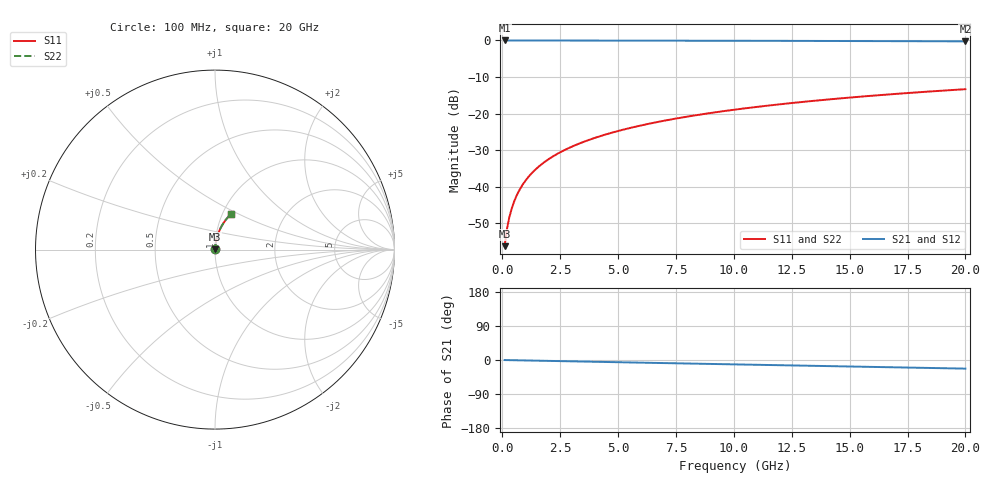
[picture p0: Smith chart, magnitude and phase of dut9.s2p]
! Touchstone file exported from HFSS 2026.1.0
!  File:  C:/ffzhzh/LocalFiles/Ansys_Project_Files/temp_val_TMRDL_9_1782902762_46784.aedt
!  Generated:  06:47:26 PM Jul  1, 2026
!  Design:  TMRDL
!  Project:  temp_val_TMRDL_9_1782902762_46784
! Variables:
!  h_bsmrdl = 2um
!  h_ox = 20um
!  h_rdl = 5um
!  h_sub = 80um
!  h_tmrdl = 5.59um
!  h_tsv = 80um
!  h_via = 3um
!  l_bsmrdl = 300um
!  l_sub = 699.43um
!  l_tmrdl = 299.43um
!  m_sub = 200um
!  pitch = 58.82um
!  r_tsv = 6um
!  s_tmrdl = 10um
!  w_bsmrdl = 18um
!  w_sub = 500um
!  w_tmrdl = 27.7um
!  x_tsv_center1 = 313.28um
!  x_tsv_center2 = 631.28um
!  x_tsv_center3 = 958.41um
!  x_tsv_center4 = 1276.41um
!  x_tsv_center5 = 1603.54um
!  x_tsv_center6 = 1921.54um
# GHz S MA R 50.000000
! Terminal data exported
! Port[1] = TM_RDL1_1_T1
! Port[2] = TM_RDL1_1_T2
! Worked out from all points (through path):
!   200 points, 100 MHz to 20 GHz, reference 50 ohm
!   highest |S21| = -0.01 dB at 100 MHz (marker M1); lowest = -0.3 dB at 20 GHz (marker M2)
!   group delay of S21, straight-line fit = 3.15 ps
!   lowest |S11| = -56.3 dB at 100 MHz (marker M3), VSWR 1.00, Z = 50.1 + j0.128 ohm
!   |S11| at or under -10 dB: start of sweep to end of sweep
!   |S22| runs from -56.3 to -13.3 dB; largest |S21 - S12| = 4.5e-15
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0.1  0.001537 56.1  0.9991 -0.1  0.9991 -0.1  0.001537 56.1
! Gamma 0 0 0 0
! Port Impedance 50 0 50 0
0.2  0.002616 71.6  0.9991 -0.2  0.9991 -0.2  0.002615 71.6
0.3  0.003769 77.3  0.999 -0.4  0.999 -0.4  0.003769 77.3
0.4  0.004946 80.1  0.999 -0.5  0.999 -0.5  0.004945 80.1
0.5  0.006133 81.6  0.9989 -0.6  0.9989 -0.6  0.006132 81.6
0.7  0.008515 83.2  0.9989 -0.8  0.9989 -0.8  0.008514 83.2
0.8  0.009706 83.7  0.9988 -1.0  0.9988 -1.0  0.009705 83.7
1  0.01208 84.1  0.9988 -1.2  0.9988 -1.2  0.01208 84.1
1.2  0.01445 84.3  0.9987 -1.4  0.9987 -1.4  0.01445 84.3
1.4  0.0168 84.4  0.9986 -1.7  0.9986 -1.7  0.0168 84.4
1.7  0.02031 84.3  0.9984 -2.0  0.9984 -2.0  0.02031 84.3
2  0.02379 84.2  0.9982 -2.4  0.9982 -2.4  0.02379 84.2
2.7  0.03182 83.7  0.9978 -3.2  0.9978 -3.2  0.03182 83.7
3.5  0.04091 83.0  0.9971 -4.1  0.9971 -4.1  0.04091 83.0
4.2  0.0488 82.4  0.9965 -4.9  0.9965 -4.9  0.0488 82.4
5  0.05776 81.6  0.9958 -5.9  0.9958 -5.9  0.05776 81.6
6.8  0.07775 79.9  0.994 -7.9  0.994 -7.9  0.07775 79.9
8.3  0.09423 78.3  0.9922 -9.6  0.9922 -9.6  0.09423 78.3
10.1  0.1138 76.5  0.9898 -11.7  0.9898 -11.7  0.1138 76.4
13.4  0.1488 73.0  0.9846 -15.4  0.9846 -15.4  0.1488 73.0
16.7  0.1828 69.4  0.9785 -19.1  0.9785 -19.1  0.1828 69.4
20  0.2154 65.9  0.9714 -22.7  0.9714 -22.7  0.2154 65.9
